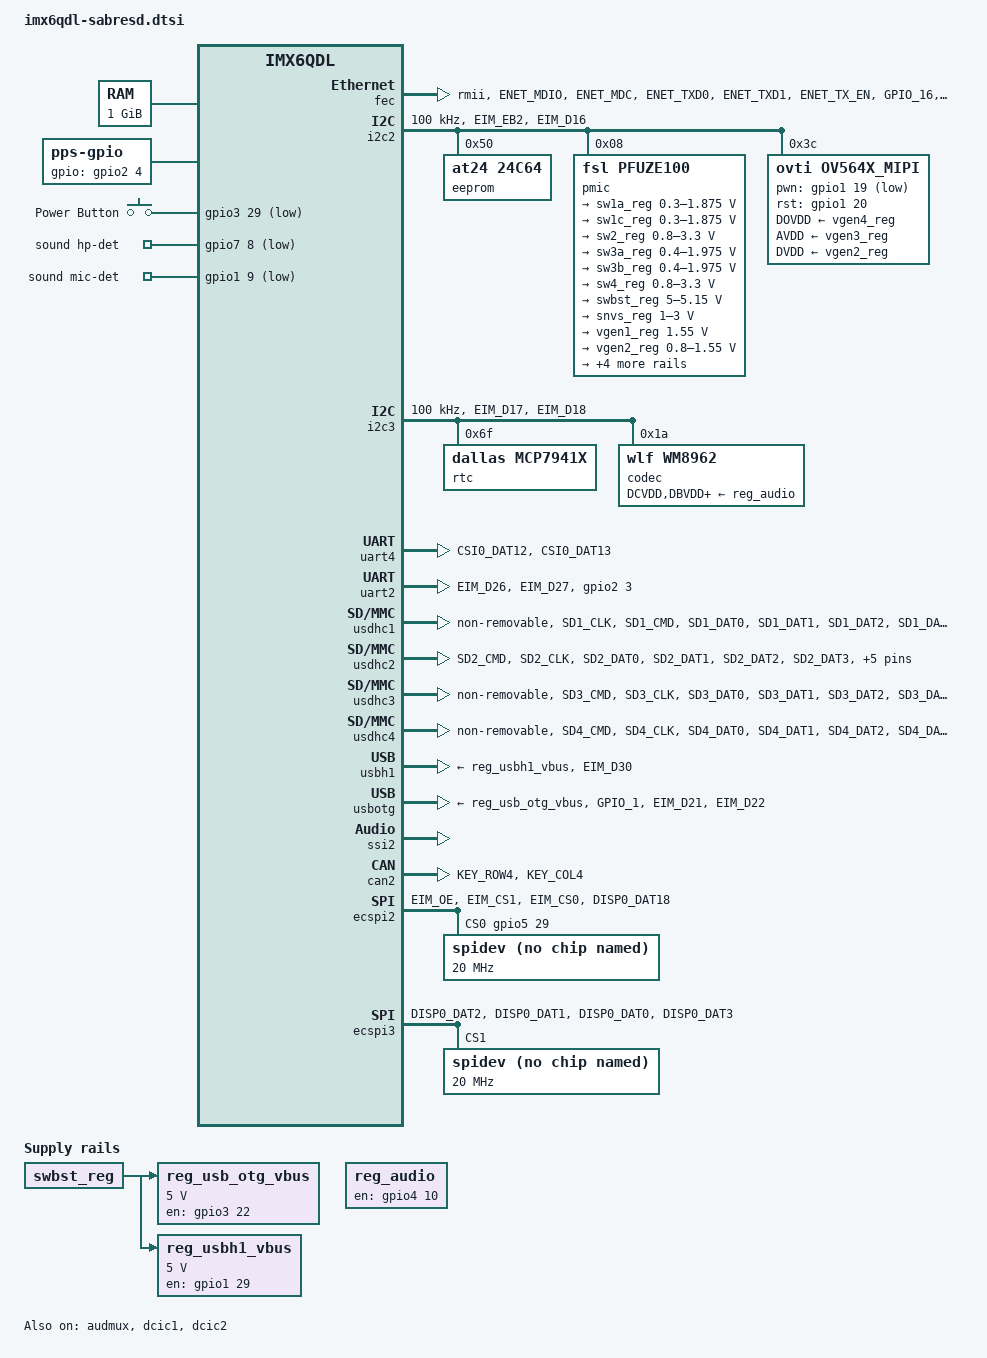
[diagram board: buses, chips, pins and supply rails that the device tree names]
/*
 * Copyright 2012-2016 Freescale Semiconductor, Inc.
 * Copyright 2011 Linaro Ltd.
 * Copyright 2017 NXP.
 *
 * The code contained herein is licensed under the GNU General Public
 * License. You may obtain a copy of the GNU General Public License
 * Version 2 or later at the following locations:
 *
 * http://www.opensource.org/licenses/gpl-license.html
 * http://www.gnu.org/copyleft/gpl.html
 */

#include <dt-bindings/gpio/gpio.h>
#include <dt-bindings/input/input.h>

/ {
	aliases {
	};

	memory: memory {
		reg = <0x10000000 0x40000000>;
	};

	regulators {
		compatible = "simple-bus";
		#address-cells = <1>;
		#size-cells = <0>;

		reg_usb_otg_vbus: regulator@0 {
			compatible = "regulator-fixed";
			reg = <0>;
			regulator-name = "usb_otg_vbus";
			regulator-min-microvolt = <5000000>;
			regulator-max-microvolt = <5000000>;
			gpio = <&gpio3 22 0>;
			enable-active-high;
			vin-supply = <&swbst_reg>;
		};

		reg_usbh1_vbus: regulator@2 {
			compatible = "regulator-fixed";
			reg = <1>;
			regulator-name = "usbh1_vbus";
			regulator-min-microvolt = <5000000>;
			regulator-max-microvolt = <5000000>;
			gpio = <&gpio1 29 0>;
			enable-active-high;
			vin-supply = <&swbst_reg>;
		};

		reg_audio: regulator@1 {
			compatible = "regulator-fixed";
			reg = <2>;
			regulator-name = "wm8962-supply";
			gpio = <&gpio4 10 0>;
			enable-active-high;
		};

	};
        pps {
                compatible = "pps-gpio";
                pinctrl-names = "default";
                pinctrl-0 = <&pinctrl_pps>;
                gpios = <&gpio2 4 GPIO_ACTIVE_HIGH>;
                status = "okay";
        };

        gpio1 {
                pinctrl-names = "default";
                pinctrl-0 = <&pinctrl_gpio1>;
        };

        gpio2 {
                pinctrl-names = "default";
                pinctrl-0 = <&pinctrl_gpio2>;
        };

        gpio3 {
                pinctrl-names = "default";
                pinctrl-0 = <&pinctrl_gpio3>;
        };

        gpio4 {
                pinctrl-names = "default";
                pinctrl-0 = <&pinctrl_gpio4>;
        };

        gpio5 {
                pinctrl-names = "default";
                pinctrl-0 = <&pinctrl_gpio5>;
        };

        gpio6 {
                pinctrl-names = "default";
                pinctrl-0 = <&pinctrl_gpio6>;
        };

        gpio7 {
                pinctrl-names = "default";
                pinctrl-0 = <&pinctrl_gpio7>;
        };

	gpio-keys {
		compatible = "gpio-keys";
		pinctrl-names = "default";
		pinctrl-0 = <&pinctrl_gpio_keys>;

		power {
			label = "Power Button";
			gpios = <&gpio3 29 GPIO_ACTIVE_LOW>;
			wakeup-source;
			linux,code = <KEY_POWER>;
		};

	};

	sound {
		compatible = "fsl,imx6q-sabresd-wm8962",
			   "fsl,imx-audio-wm8962";
		model = "wm8962-audio";
		cpu-dai = <&ssi2>;
		audio-codec = <&codec>;
		asrc-controller = <&asrc>;
		audio-routing =
			"Headphone Jack", "HPOUTL",
			"Headphone Jack", "HPOUTR",
			"Ext Spk", "SPKOUTL",
			"Ext Spk", "SPKOUTR",
			"AMIC", "MICBIAS",
			"IN3R", "AMIC",
			"DMIC", "MICBIAS",
			"DMICDAT", "DMIC",
			"CPU-Playback", "ASRC-Playback",
			"Playback", "CPU-Playback",
			"ASRC-Capture", "CPU-Capture",
			"CPU-Capture", "Capture";
		mux-int-port = <2>;
		mux-ext-port = <3>;
		codec-master;
		hp-det-gpios = <&gpio7 8 1>;
		mic-det-gpios = <&gpio1 9 1>;
	};

};

&audmux {
	pinctrl-names = "default";
	pinctrl-0 = <&pinctrl_audmux>;
	status = "okay";
};

&clks {
	assigned-clocks = <&clks IMX6QDL_CLK_LDB_DI0_SEL>,
			  <&clks IMX6QDL_CLK_LDB_DI1_SEL>;
	assigned-clock-parents = <&clks IMX6QDL_CLK_PLL2_PFD0_352M>,
				 <&clks IMX6QDL_CLK_PLL2_PFD0_352M>;
};

&clks {
};

/*
&fec {
	pinctrl-names = "default";
	pinctrl-0 = <&pinctrl_enet>;
	phy-mode = "rgmii";
	phy-reset-gpios = <&gpio1 25 0>;
	fsl,magic-packet;
	status = "okay";
};
*/
&fec {
        pinctrl-names = "default";
        pinctrl-0 = <&pinctrl_enet>;
        phy-mode = "rmii";
        status = "okay";
};

&gpc {
	fsl,ldo-bypass = <1>;
};

&dcic1 {
	dcic_id = <0>;
	dcic_mux = "dcic-hdmi";
	status = "okay";
};

&dcic2 {
	dcic_id = <1>;
	dcic_mux = "dcic-lvds1";
	status = "okay";
};

&i2c2 {
	clock-frequency = <100000>;
	pinctrl-names = "default", "gpio";
	pinctrl-0 = <&pinctrl_i2c2>;
	status = "okay";

        eeprom: 24FC64F@50 {
                compatible = "at24,24c64";
                reg = <0x50>;
        };

	pmic: pfuze100@08 {
		compatible = "fsl,pfuze100";
		reg = <0x08>;

		regulators {
			sw1a_reg: sw1ab {
				regulator-min-microvolt = <300000>;
				regulator-max-microvolt = <1875000>;
				regulator-boot-on;
				regulator-always-on;
				regulator-ramp-delay = <6250>;
			};

			sw1c_reg: sw1c {
				regulator-min-microvolt = <300000>;
				regulator-max-microvolt = <1875000>;
				regulator-boot-on;
				regulator-always-on;
				regulator-ramp-delay = <6250>;
			};

			sw2_reg: sw2 {
				regulator-min-microvolt = <800000>;
				regulator-max-microvolt = <3300000>;
				regulator-boot-on;
				regulator-always-on;
				regulator-ramp-delay = <6250>;
			};

			sw3a_reg: sw3a {
				regulator-min-microvolt = <400000>;
				regulator-max-microvolt = <1975000>;
				regulator-boot-on;
				regulator-always-on;
			};

			sw3b_reg: sw3b {
				regulator-min-microvolt = <400000>;
				regulator-max-microvolt = <1975000>;
				regulator-boot-on;
				regulator-always-on;
			};

			sw4_reg: sw4 {
				regulator-min-microvolt = <800000>;
				regulator-max-microvolt = <3300000>;
				regulator-always-on;
			};

			swbst_reg: swbst {
				regulator-min-microvolt = <5000000>;
				regulator-max-microvolt = <5150000>;
			};

			snvs_reg: vsnvs {
				regulator-min-microvolt = <1000000>;
				regulator-max-microvolt = <3000000>;
				regulator-boot-on;
				regulator-always-on;
			};

			vref_reg: vrefddr {
				regulator-boot-on;
				regulator-always-on;
			};

			vgen1_reg: vgen1 {
				regulator-min-microvolt = <800000>;
				regulator-max-microvolt = <1550000>;
			};

			vgen2_reg: vgen2 {
				regulator-min-microvolt = <800000>;
				regulator-max-microvolt = <1550000>;
			};

			vgen3_reg: vgen3 {
				regulator-min-microvolt = <1800000>;
				regulator-max-microvolt = <3300000>;
			};

			vgen4_reg: vgen4 {
				regulator-min-microvolt = <1800000>;
				regulator-max-microvolt = <3300000>;
				regulator-always-on;
			};

			vgen5_reg: vgen5 {
				regulator-min-microvolt = <1800000>;
				regulator-max-microvolt = <3300000>;
				regulator-always-on;
			};

			vgen6_reg: vgen6 {
				regulator-min-microvolt = <1800000>;
				regulator-max-microvolt = <3300000>;
				regulator-always-on;
			};
		};
	};

	ov564x_mipi: ov564x_mipi@3c { /* i2c2 driver */
		compatible = "ovti,ov564x_mipi";
		reg = <0x3c>;
			clocks = <&clks 201>;
		clock-names = "csi_mclk";
		DOVDD-supply = <&vgen4_reg>; /* 1.8v */
		AVDD-supply = <&vgen3_reg>;  /* 2.8v, rev C board is VGEN3
						rev B board is VGEN5 */
		DVDD-supply = <&vgen2_reg>;  /* 1.5v*/
		pwn-gpios = <&gpio1 19 1>;   /* active low: SD1_CLK */
		rst-gpios = <&gpio1 20 0>;   /* active high: SD1_DAT2 */
		csi_id = <1>;
		mclk = <24000000>;
		mclk_source = <0>;
	};
};

&i2c3 {
	clock-frequency = <100000>;
	pinctrl-names = "default";
	pinctrl-0 = <&pinctrl_i2c3>;
	status = "okay";

        rtc@6f {
                compatible = "dallas,mcp7941x";
                reg = <0x6f>;
        };

        codec: wm8962@1a {
                compatible = "wlf,wm8962";
                reg = <0x1a>;
                clocks = <&clks 201>;
                DCVDD-supply = <&reg_audio>;
                DBVDD-supply = <&reg_audio>;
                AVDD-supply = <&reg_audio>;
                CPVDD-supply = <&reg_audio>;
                MICVDD-supply = <&reg_audio>;
                PLLVDD-supply = <&reg_audio>;
                SPKVDD1-supply = <&reg_audio>;
                SPKVDD2-supply = <&reg_audio>;
                spk-mono;
       };

};

&iomuxc {
	pinctrl-names = "default";
	pinctrl-0 = <&pinctrl_hog>;

	imx6qdl-sabresd {
		pinctrl_hog: hoggrp {
			fsl,pins = <
				 MX6QDL_PAD_GPIO_0__CCM_CLKO1    0x130b0
			>;
		};
		//CODEC
		pinctrl_audmux: audmuxgrp {
			fsl,pins = <
				MX6QDL_PAD_CSI0_DAT7__AUD3_RXD		0x130b0
				MX6QDL_PAD_CSI0_DAT4__AUD3_TXC		0x130b0
				MX6QDL_PAD_CSI0_DAT5__AUD3_TXD		0x110b0
				MX6QDL_PAD_CSI0_DAT6__AUD3_TXFS		0x130b0
			>;
		};
                pinctrl_sirius: siriusgrp {
                        fsl,pins = <
                                MX6QDL_PAD_DISP0_DAT14__AUD5_RXC    0x0001B0B0
                                MX6QDL_PAD_KEY_ROW1__AUD5_RXD    0x0001B0B0
                                MX6QDL_PAD_DISP0_DAT13__AUD5_RXFS    0x0001B0B0
                                >;
                };
                pinctrl_ecspi2: ecspi2grp {
                        fsl,pins = <
                                MX6QDL_PAD_EIM_OE__ECSPI2_MISO    0x0000B0B1
                                MX6QDL_PAD_EIM_CS1__ECSPI2_MOSI    0x0000B0B1
                                MX6QDL_PAD_EIM_CS0__ECSPI2_SCLK    0x0000B0B1
                                MX6QDL_PAD_DISP0_DAT18__ECSPI2_SS0    0x0001B0B0
                                >;
                };

                pinctrl_ecspi3: ecspi3grp {
                        fsl,pins = <
                                MX6QDL_PAD_DISP0_DAT2__ECSPI3_MISO    0x0001B0B0
                                MX6QDL_PAD_DISP0_DAT1__ECSPI3_MOSI    0x0001B0B0
                                MX6QDL_PAD_DISP0_DAT0__ECSPI3_SCLK    0x0001B0B0
                                MX6QDL_PAD_DISP0_DAT3__ECSPI3_SS0    0x0001B0B0
                                //MX6QDL_PAD_DISP0_DAT4__ECSPI3_SS1    0x0001B0B0
                                >;
                };

/*		pinctrl_enet: enetgrp {
			fsl,pins = <
                                MX6QDL_PAD_ENET_MDIO__ENET_MDIO         0x1b0b0
                                MX6QDL_PAD_ENET_MDC__ENET_MDC           0x1b0b0
                                MX6QDL_PAD_RGMII_TXC__RGMII_TXC         0x1b030
                                MX6QDL_PAD_RGMII_TD0__RGMII_TD0         0x1b030
                                MX6QDL_PAD_RGMII_TD1__RGMII_TD1         0x1b030
                                MX6QDL_PAD_RGMII_TD2__RGMII_TD2         0x1b030
                                MX6QDL_PAD_RGMII_TD3__RGMII_TD3         0x1b030
                                MX6QDL_PAD_RGMII_TX_CTL__RGMII_TX_CTL   0x1b030
                                MX6QDL_PAD_ENET_REF_CLK__ENET_TX_CLK    0x1b0b0
                                MX6QDL_PAD_RGMII_RXC__RGMII_RXC         0x1b030
                                MX6QDL_PAD_RGMII_RD0__RGMII_RD0         0x1b030
                                MX6QDL_PAD_RGMII_RD1__RGMII_RD1         0x1b030
                                MX6QDL_PAD_RGMII_RD2__RGMII_RD2         0x1b030
                                MX6QDL_PAD_RGMII_RD3__RGMII_RD3         0x1b030
                                MX6QDL_PAD_RGMII_RX_CTL__RGMII_RX_CTL   0x1b030
                                MX6QDL_PAD_GPIO_16__ENET_REF_CLK        0x4001b0a8
			>;
		}; */

                pinctrl_enet: enetgrp {
                        fsl,pins = <
	    MX6QDL_PAD_ENET_MDIO__ENET_MDIO 0x1b0b0
            MX6QDL_PAD_ENET_MDC__ENET_MDC 0x1b0b0
            MX6QDL_PAD_ENET_TXD0__ENET_TX_DATA0 0x1b0b0
            MX6QDL_PAD_ENET_TXD1__ENET_TX_DATA1 0x1b0b0
            MX6QDL_PAD_ENET_TX_EN__ENET_TX_EN 0x1b0b0
            MX6QDL_PAD_GPIO_16__ENET_REF_CLK 0x1b0b0
            MX6QDL_PAD_ENET_RXD0__ENET_RX_DATA0 0x1b0b0
            MX6QDL_PAD_ENET_RXD1__ENET_RX_DATA1 0x1b0b0
            MX6QDL_PAD_ENET_CRS_DV__ENET_RX_EN 0x130b0
            MX6QDL_PAD_ENET_RX_ER__ENET_RX_ER 0x1b0b0
            MX6QDL_PAD_GPIO_2__GPIO1_IO02 0x1b0b0
 
                                >;
                };

                //CAN bus
                pinctrl_can2: can2grp {
                        fsl,pins = <
                                MX6QDL_PAD_KEY_ROW4__FLEXCAN2_RX    0x000130B0
                                MX6QDL_PAD_KEY_COL4__FLEXCAN2_TX    0x0001B0B0
                                >;
                };

                //GPIOs
                pinctrl_gpio1: gpio1grp {
                        fsl,pins = <
                                //MX6QDL_PAD_GPIO_0__CCM_CLKO1     0x000130B0 moved to audmux
                                MX6QDL_PAD_GPIO_2__GPIO1_IO02    0x0001B0B0
                                MX6QDL_PAD_GPIO_3__GPIO1_IO03    0x0001B0B0
                                //MX6QDL_PAD_GPIO_4__GPIO1_IO04    0x0001B0B0 moved to usdh_2
                                MX6QDL_PAD_GPIO_5__GPIO1_IO05    0x0001B0B0
                                MX6QDL_PAD_GPIO_7__GPIO1_IO07    0x0001B0B0
                                MX6QDL_PAD_GPIO_8__GPIO1_IO08    0x0001B0B0
                                MX6QDL_PAD_GPIO_9__GPIO1_IO09    0x0001B0B0
                                >;
                };

                pinctrl_gpio2: gpio2grp {
                        fsl,pins = <
                                //MX6QDL_PAD_NANDF_D0__GPIO2_IO00    0x0001B0B0 moved to gpio_keys
                                MX6QDL_PAD_NANDF_D1__GPIO2_IO01    0x0001B0B0
                                MX6QDL_PAD_NANDF_D2__GPIO2_IO02    0x0001B0B0
                                MX6QDL_PAD_NANDF_D3__GPIO2_IO03    0x000110B0
                                //MX6QDL_PAD_NANDF_D4__GPIO2_IO04    0x00007080   moved to pps-gpio
                                MX6QDL_PAD_NANDF_D5__GPIO2_IO05    0x0001B0B0
                                MX6QDL_PAD_NANDF_D6__GPIO2_IO06    0x0001B0B0
                                MX6QDL_PAD_NANDF_D7__GPIO2_IO07    0x0001B0B0
                                MX6QDL_PAD_SD4_DAT4__GPIO2_IO12    0x0001B0B0
                                MX6QDL_PAD_SD4_DAT5__GPIO2_IO13    0x0001B0B0
                                MX6QDL_PAD_SD4_DAT6__GPIO2_IO14    0x0001B0B0
                                MX6QDL_PAD_SD4_DAT7__GPIO2_IO15    0x0001B0B0
                                MX6QDL_PAD_EIM_A17__GPIO2_IO21    0x0000B0B1
                                >;
                };

                pinctrl_gpio3: gpio3grp {
                        fsl,pins = <
                                MX6QDL_PAD_EIM_DA0__GPIO3_IO00    0x0000B0B1
                                MX6QDL_PAD_EIM_DA1__GPIO3_IO01    0x0000B0B1
                                MX6QDL_PAD_EIM_DA15__GPIO3_IO15    0x0000B0B1
                                MX6QDL_PAD_EIM_D19__GPIO3_IO19    0x0001B0B0
                                MX6QDL_PAD_EIM_D20__GPIO3_IO20    0x0001B0B0
                                MX6QDL_PAD_EIM_D23__GPIO3_IO23    0x0001B0B0
                                MX6QDL_PAD_EIM_D28__GPIO3_IO28    0x0001B0B0
                                MX6QDL_PAD_EIM_D29__GPIO3_IO29    0x0001B0B0
                                MX6QDL_PAD_EIM_D31__GPIO3_IO31    0x000130B0
                                >;
                };

                pinctrl_gpio4: gpio4grp {
                        fsl,pins = <
                                MX6QDL_PAD_GPIO_19__GPIO4_IO05    0x0001B0B0
                                MX6QDL_PAD_KEY_COL0__GPIO4_IO06    0x0001B0B0
                                MX6QDL_PAD_KEY_COL1__GPIO4_IO08    0x0001B0B0
                                MX6QDL_PAD_KEY_COL2__GPIO4_IO10    0x0001B0B0
                                MX6QDL_PAD_KEY_COL3__GPIO4_IO12    0x0001B0B0
                                MX6QDL_PAD_KEY_ROW3__GPIO4_IO13    0x0001B0B0
                                MX6QDL_PAD_DI0_DISP_CLK__GPIO4_IO16    0x0001B0B0
                                MX6QDL_PAD_DI0_PIN15__GPIO4_IO17    0x0001B0B0
                                MX6QDL_PAD_DI0_PIN2__GPIO4_IO18    0x0001B0B0
                                MX6QDL_PAD_DI0_PIN3__GPIO4_IO19    0x0001B0B0
                                MX6QDL_PAD_DI0_PIN4__GPIO4_IO20    0x0001B0B0
                                MX6QDL_PAD_DISP0_DAT4__GPIO4_IO25  0x0001B0B0
                                MX6QDL_PAD_DISP0_DAT5__GPIO4_IO26    0x0001B0B0
                                MX6QDL_PAD_DISP0_DAT7__GPIO4_IO28    0x0001B0B0
                                MX6QDL_PAD_DISP0_DAT9__GPIO4_IO30    0x0001B0B0
                                >;
                };

                pinctrl_gpio5: gpio5grp {
                        fsl,pins = <
                                MX6QDL_PAD_EIM_A25__GPIO5_IO02    0x0000B0B1
                                MX6QDL_PAD_DISP0_DAT11__GPIO5_IO05    0x0001B0B0
                                MX6QDL_PAD_DISP0_DAT12__GPIO5_IO06    0x0001B0B0
                                MX6QDL_PAD_DISP0_DAT15__GPIO5_IO09    0x0001B0B0
                                MX6QDL_PAD_DISP0_DAT16__GPIO5_IO10    0x0001B0B0
                                MX6QDL_PAD_DISP0_DAT17__GPIO5_IO11    0x0001B0B0
                                MX6QDL_PAD_DISP0_DAT18__GPIO5_IO12    0x0001B0B0
                                MX6QDL_PAD_CSI0_PIXCLK__GPIO5_IO18    0x0001B0B0
                                MX6QDL_PAD_CSI0_MCLK__GPIO5_IO19    0x0001B0B0
                                MX6QDL_PAD_CSI0_DATA_EN__GPIO5_IO20    0x0001B0B0
                                MX6QDL_PAD_CSI0_VSYNC__GPIO5_IO21    0x0001B0B0
                                MX6QDL_PAD_CSI0_DAT4__GPIO5_IO22    0x0001B0B0
                                MX6QDL_PAD_CSI0_DAT5__GPIO5_IO23    0x0001B0B0
                                MX6QDL_PAD_CSI0_DAT6__GPIO5_IO24    0x0001B0B0
                                MX6QDL_PAD_CSI0_DAT7__GPIO5_IO25    0x0001B0B0
                                >;
                };

                pinctrl_gpio6: gpio6grp {
                        fsl,pins = <
                                MX6QDL_PAD_CSI0_DAT14__GPIO6_IO00    0x0001B0B0
                                MX6QDL_PAD_CSI0_DAT15__GPIO6_IO01    0x0001B0B0
                                MX6QDL_PAD_CSI0_DAT17__GPIO6_IO03    0x0001B0B0
                                MX6QDL_PAD_CSI0_DAT18__GPIO6_IO04    0x0001B0B0
                                MX6QDL_PAD_CSI0_DAT19__GPIO6_IO05    0x0001B0B0
                                MX6QDL_PAD_EIM_A23__GPIO6_IO06       0x0000B0B1
                                MX6QDL_PAD_NANDF_CLE__GPIO6_IO07    0x0000A8B1
                                MX6QDL_PAD_NANDF_ALE__GPIO6_IO08    0x0000A8B1
                                MX6QDL_PAD_NANDF_WP_B__GPIO6_IO09    0x0001B0B0
                                MX6QDL_PAD_NANDF_RB0__GPIO6_IO10    0x0001B0B0
                                MX6QDL_PAD_NANDF_CS0__GPIO6_IO11    0x0000A8B1
                                MX6QDL_PAD_NANDF_CS1__GPIO6_IO14    0x0000A8B1
                                MX6QDL_PAD_NANDF_CS2__GPIO6_IO15    0x0001B0B0
                                MX6QDL_PAD_NANDF_CS3__GPIO6_IO16    0x0001B0B0
                                MX6QDL_PAD_RGMII_TXC__GPIO6_IO19    0x0001B0B0
                                MX6QDL_PAD_RGMII_TD1__GPIO6_IO21    0x0001B030
                                MX6QDL_PAD_RGMII_TD2__GPIO6_IO22   0x0001B030
                                MX6QDL_PAD_RGMII_RD0__GPIO6_IO25   0x0001B030
                                MX6QDL_PAD_RGMII_RD1__GPIO6_IO27   0x0001B030
                                MX6QDL_PAD_RGMII_RD2__GPIO6_IO28   0x0001B030
                                MX6QDL_PAD_EIM_BCLK__GPIO6_IO31    0x0000B0B1
                                >;
                };

                pinctrl_gpio7: gpio7grp {
                        fsl,pins = <
                                MX6QDL_PAD_GPIO_17__GPIO7_IO12    0x0001B0B0
                                MX6QDL_PAD_GPIO_18__GPIO7_IO13    0x0001F0B0
                                >;
                };
		pinctrl_gpio_keys: gpio_keysgrp {
			fsl,pins = <
				MX6QDL_PAD_EIM_D29__GPIO3_IO29 0x1b0b0
				MX6QDL_PAD_GPIO_4__GPIO1_IO04  0x1b0b0
				MX6QDL_PAD_GPIO_5__GPIO1_IO05  0x1b0b0
			>;
		};
/*

		 //I2C1
		pinctrl_i2c1: i2c1grp {
			fsl,pins = <
				MX6QDL_PAD_CSI0_DAT8__I2C1_SDA		0x4001b8b1
				MX6QDL_PAD_CSI0_DAT9__I2C1_SCL		0x4001b8b1
			>;
		};

		 //I2C2
		pinctrl_i2c2: i2c2grp {
			fsl,pins = <
				MX6QDL_PAD_KEY_COL3__I2C2_SCL		0x4001b8b1
				MX6QDL_PAD_KEY_ROW3__I2C2_SDA		0x4001b8b1
			>;
		};

                //I2C3
		pinctrl_i2c3: i2c3grp {
			fsl,pins = <
				MX6QDL_PAD_GPIO_3__I2C3_SCL		0x4001b8b1
				MX6QDL_PAD_GPIO_6__I2C3_SDA		0x4001b8b1
			>;
		};
*/
                //I2C1
                pinctrl_i2c1: i2c1grp {
                        fsl,pins = <
                                MX6QDL_PAD_CSI0_DAT9__I2C1_SCL    0x4001B0B1
                                MX6QDL_PAD_CSI0_DAT8__I2C1_SDA    0x4001B0B1
                                >;
                };

                //I2C2
                pinctrl_i2c2: i2c2grp {
                        fsl,pins = <
                                MX6QDL_PAD_EIM_EB2__I2C2_SCL    0x4001B0B1
                                MX6QDL_PAD_EIM_D16__I2C2_SDA    0x4001B8B1
                                >;
                };

                //I2C3
                pinctrl_i2c3: i2c3grp {
                        fsl,pins = <
                                MX6QDL_PAD_EIM_D17__I2C3_SCL    0x4001B0B1
                                MX6QDL_PAD_EIM_D18__I2C3_SDA    0x4001B0B1
                                >;
                };


                //UART1
		pinctrl_uart1: uart1grp {
			fsl,pins = <
				MX6QDL_PAD_CSI0_DAT10__UART1_TX_DATA	0x1b0b1
				MX6QDL_PAD_CSI0_DAT11__UART1_RX_DATA	0x1b0b1
			>;
		};

                //UART2
                pinctrl_uart2: uart2grp {
                        fsl,pins = <
                                MX6QDL_PAD_EIM_D26__UART2_TX_DATA    0x0001B0B0
                                MX6QDL_PAD_EIM_D27__UART2_RX_DATA    0x0001B0B0
                                >;
                };

                //UART3
                pinctrl_uart3: uart3grp {
                        fsl,pins = <
                                MX6QDL_PAD_EIM_D24__UART3_TX_DATA    0x0001B0B0
                                MX6QDL_PAD_EIM_D25__UART3_RX_DATA    0x0001B0B0
                                >;
                };

                //UART4
                pinctrl_uart4: uart4grp {
                        fsl,pins = <
                                MX6QDL_PAD_CSI0_DAT12__UART4_TX_DATA    0x0001B0B0
                                MX6QDL_PAD_CSI0_DAT13__UART4_RX_DATA    0x0001F080
                                >;
                };
                //USBH
                pinctrl_usbh1: usbh1grp {
                        fsl,pins = <
                                MX6QDL_PAD_EIM_D30__USB_H1_OC    0x0001B0B0
                                >;
                };

                //USB OTG
                pinctrl_usbotg: usbotggrp {
                        fsl,pins = <                         //  NXP Ref       Rob
                                MX6QDL_PAD_GPIO_1__USB_OTG_ID    0x0001F080  //0x0001B0B0
                                MX6QDL_PAD_EIM_D21__USB_OTG_OC   0x0001B0B0  //0x0001B0B0
                                MX6QDL_PAD_EIM_D22__USB_OTG_PWR  0x000130B0  //0x000120B0
                                >;
                };

                //SD1
                pinctrl_usdhc1: usdhc1grp {
                        fsl,pins = <
                                MX6QDL_PAD_SD1_CLK__SD1_CLK    0x0001A060
                                MX6QDL_PAD_SD1_CMD__SD1_CMD    0x0001B0B0
                                MX6QDL_PAD_SD1_DAT0__SD1_DATA0    0x0001B0B0
                                MX6QDL_PAD_SD1_DAT1__SD1_DATA1    0x0001B0B0
                                MX6QDL_PAD_SD1_DAT2__SD1_DATA2    0x0001B0B0
                                MX6QDL_PAD_SD1_DAT3__SD1_DATA3    0x0001B0B0
                                >;
                };

		pinctrl_usdhc2: usdhc2grp {
			fsl,pins = <
				MX6QDL_PAD_SD2_CMD__SD2_CMD		0x17059
				MX6QDL_PAD_SD2_CLK__SD2_CLK		0x10059
				MX6QDL_PAD_SD2_DAT0__SD2_DATA0		0x17059
				MX6QDL_PAD_SD2_DAT1__SD2_DATA1		0x17059
				MX6QDL_PAD_SD2_DAT2__SD2_DATA2		0x17059
				MX6QDL_PAD_SD2_DAT3__SD2_DATA3		0x17059
				MX6QDL_PAD_NANDF_D4__SD2_DATA4		0x17059
				MX6QDL_PAD_NANDF_D5__SD2_DATA5		0x17059
				MX6QDL_PAD_NANDF_D6__SD2_DATA6		0x17059
				MX6QDL_PAD_NANDF_D7__SD2_DATA7		0x17059
			>;
		};

		pinctrl_usdhc3: usdhc3grp {
			fsl,pins = <
				MX6QDL_PAD_SD3_CMD__SD3_CMD		0x17059
				MX6QDL_PAD_SD3_CLK__SD3_CLK		0x10059
				MX6QDL_PAD_SD3_DAT0__SD3_DATA0		0x17059
				MX6QDL_PAD_SD3_DAT1__SD3_DATA1		0x17059
				MX6QDL_PAD_SD3_DAT2__SD3_DATA2		0x17059
				MX6QDL_PAD_SD3_DAT3__SD3_DATA3		0x17059
				MX6QDL_PAD_SD3_DAT4__SD3_DATA4		0x17059
				MX6QDL_PAD_SD3_DAT5__SD3_DATA5		0x17059
				MX6QDL_PAD_SD3_DAT6__SD3_DATA6		0x17059
				MX6QDL_PAD_SD3_DAT7__SD3_DATA7		0x17059
			>;
		};

		pinctrl_usdhc4: usdhc4grp {
			fsl,pins = <
				MX6QDL_PAD_SD4_CMD__SD4_CMD		0x17059
				MX6QDL_PAD_SD4_CLK__SD4_CLK		0x10059
				MX6QDL_PAD_SD4_DAT0__SD4_DATA0		0x17059
				MX6QDL_PAD_SD4_DAT1__SD4_DATA1		0x17059
				MX6QDL_PAD_SD4_DAT2__SD4_DATA2		0x17059
				MX6QDL_PAD_SD4_DAT3__SD4_DATA3		0x17059
				MX6QDL_PAD_SD4_DAT4__SD4_DATA4		0x17059
				MX6QDL_PAD_SD4_DAT5__SD4_DATA5		0x17059
				MX6QDL_PAD_SD4_DAT6__SD4_DATA6		0x17059
				MX6QDL_PAD_SD4_DAT7__SD4_DATA7		0x17059
			>;

		};
                //pps-gpio
                pinctrl_pps: ppsgrp {
                        fsl,pins = <
                                MX6QDL_PAD_NANDF_D4__GPIO2_IO04    0x00007080
                        >;
                };

	};

};


&uart4 {
        pinctrl-names = "default";
        pinctrl-0 = <&pinctrl_uart4>;
        status = "okay";
};

&uart2 {
        pinctrl-names = "default";
        pinctrl-0 = <&pinctrl_uart2>;
        gpios = <&gpio2 3 GPIO_ACTIVE_LOW>;
        status = "okay";
};

&usdhc1 {
        pinctrl-names = "default";
        pinctrl-0 = <&pinctrl_usdhc1>;
        non-removable;
        status = "okay";
};

&usdhc2 {
        pinctrl-names = "default";
        pinctrl-0 = <&pinctrl_usdhc2>;
        cd-gpios = <&gpio4 0 GPIO_ACTIVE_LOW>;
        status = "okay";
};

&usdhc3 {
        pinctrl-names = "default";
        pinctrl-0 = <&pinctrl_usdhc3>;
        non-removable;
        no-1-8-v;
        status = "okay";
};

&usdhc4 {
        pinctrl-names = "default";
        pinctrl-0 = <&pinctrl_usdhc4>;
        non-removable;
        status = "okay";
};

&usbh1 {
        vbus-supply = <&reg_usbh1_vbus>;
        pinctrl-names = "default";
        pinctrl-0 = <&pinctrl_usbh1>;
        status = "okay";
};

&usbotg {
        vbus-supply = <&reg_usb_otg_vbus>;
        pinctrl-names = "default";
        pinctrl-0 = <&pinctrl_usbotg>;
        status = "okay";
};

&i2c3 {
        clock-frequency = <100000>;
        pinctrl-names = "default";
        pinctrl-0 = <&pinctrl_i2c3>;
        status = "okay";

        rtc@6f {
                compatible = "dallas,mcp7941x";
                reg = <0x6f>;
        };

        codec: wm8962@1a {
                compatible = "wlf,wm8962";
                reg = <0x1a>;
                clocks = <&clks 201>;
                DCVDD-supply = <&reg_audio>;
                DBVDD-supply = <&reg_audio>;
                AVDD-supply = <&reg_audio>;
                CPVDD-supply = <&reg_audio>;
                MICVDD-supply = <&reg_audio>;
                PLLVDD-supply = <&reg_audio>;
                SPKVDD1-supply = <&reg_audio>;
                SPKVDD2-supply = <&reg_audio>;
                spk-mono;
       };
};

&i2c2 {
        clock-frequency = <100000>;
        pinctrl-names = "default";
        pinctrl-0 = <&pinctrl_i2c2>;
        status = "okay";

        eeprom: 24FC64F@50 {
                compatible = "at24,24c64";
                reg = <0x50>;
        };

        //for binding check http://lxr.free-electrons.com/source/Documentation/devicetree/bindings/regulator/regulator.txt
        pmic: pfuze100@08 {
                compatible = "fsl,pfuze100";
                reg = <0x08>;

                regulators {
                        sw1a_reg: sw1ab {
                                regulator-min-microvolt = <300000>;
                                regulator-max-microvolt = <1875000>;
                                regulator-boot-on;
                                regulator-always-on;
                                regulator-ramp-delay = <6250>;
                        };

                        sw1c_reg: sw1c {
                                regulator-min-microvolt = <300000>;
                                regulator-max-microvolt = <1875000>;
                                regulator-boot-on;
                                regulator-always-on;
                                regulator-ramp-delay = <6250>;
                        };
                        sw2_reg: sw2 {
                                regulator-min-microvolt = <800000>;
                                regulator-max-microvolt = <3300000>;
                                regulator-boot-on;
                                regulator-always-on;
                        };

                        sw3a_reg: sw3a {
                                regulator-min-microvolt = <400000>;
                                regulator-max-microvolt = <1975000>;
                                regulator-boot-on;
                                regulator-always-on;
                        };

                        sw3b_reg: sw3b {
                                regulator-min-microvolt = <400000>;
                                regulator-max-microvolt = <1975000>;
                                regulator-boot-on;
                                regulator-always-on;
                        };

                        sw4_reg: sw4 {
                                regulator-min-microvolt = <800000>;
                                regulator-max-microvolt = <3300000>;
                        };

                        swbst_reg: swbst {
                                regulator-min-microvolt = <5000000>;
                                regulator-max-microvolt = <5150000>;
                        };

                        snvs_reg: vsnvs {
                                regulator-min-microvolt = <1000000>;

                                regulator-max-microvolt = <3000000>;
                                regulator-boot-on;
                                regulator-always-on;
                        };

                        vref_reg: vrefddr {
                                regulator-boot-on;
                                regulator-always-on;
                        };

                        vgen1_reg: vgen1 {
                                regulator-min-microvolt = <1550000>;
                                regulator-max-microvolt = <1550000>;
                                regulator-boot-on;
                                regulator-always-on;
                        };

                        vgen2_reg: vgen2 {
                                regulator-min-microvolt = <800000>;
                                regulator-max-microvolt = <1550000>;
                        };

                        vgen3_reg: vgen3 {
                                regulator-min-microvolt = <1800000>;
                                regulator-max-microvolt = <3300000>;
                        };
                        vgen4_reg: vgen4 {
                                regulator-min-microvolt = <1800000>;
                                regulator-max-microvolt = <3300000>;
                                regulator-always-on;
                        };

                        vgen5_reg: vgen5 {
                                regulator-min-microvolt = <1800000>;
                                regulator-max-microvolt = <3300000>;
                                regulator-always-on;
                        };

                        vgen6_reg: vgen6 {
                                regulator-min-microvolt = <1800000>;
                                regulator-max-microvolt = <3300000>;
                                regulator-always-on;
                        };
                };
        };
};

&ssi2 {
	assigned-clocks = <&clks IMX6QDL_CLK_PLL4>,
			  <&clks IMX6QDL_PLL4_BYPASS>,
			  <&clks IMX6QDL_CLK_SSI2_SEL>;
	assigned-clock-parents = <&clks IMX6QDL_CLK_OSC>,
				 <&clks IMX6QDL_CLK_PLL4>,
				 <&clks IMX6QDL_CLK_PLL4_AUDIO_DIV>;
	assigned-clock-rates = <737280000>, <0>, <0>;
	status = "okay";
};
&audmux {
        pinctrl-names = "default";
        pinctrl-0 = <&pinctrl_audmux>;
        status = "okay";
};

&fec {
        pinctrl-names = "default";
        pinctrl-0 = <&pinctrl_enet>;
        phy-mode = "rmii";
        status = "okay";
};

&can2 {
        pinctrl-names = "default";
        pinctrl-0 = <&pinctrl_can2>;
        status = "okay";
};

&snvs_poweroff {
        status = "okay";
};

&ecspi2 {
        fsl,spi-num-chipselects = <1>;
        cs-gpios = <&gpio5 29 0>;
        pinctrl-names = "default";
        pinctrl-0 = <&pinctrl_ecspi2>;
        status = "okay";
        spidev@0 {
              compatible = "rohm,dh2228fv";
              spi-max-frequency = <20000000>;
              reg = <0>;
        };
};

&ecspi3 {
        fsl,spi-num-chipselects = <2>;
        cs-gpios = <&gpio4 24 0>;
        pinctrl-names = "default";
        pinctrl-0 = <&pinctrl_ecspi3>;
        status = "okay";
        spidev@1 {
              compatible = "rohm,dh2228fv";
              spi-max-frequency = <20000000>;
              reg = <1>;
        };
};

